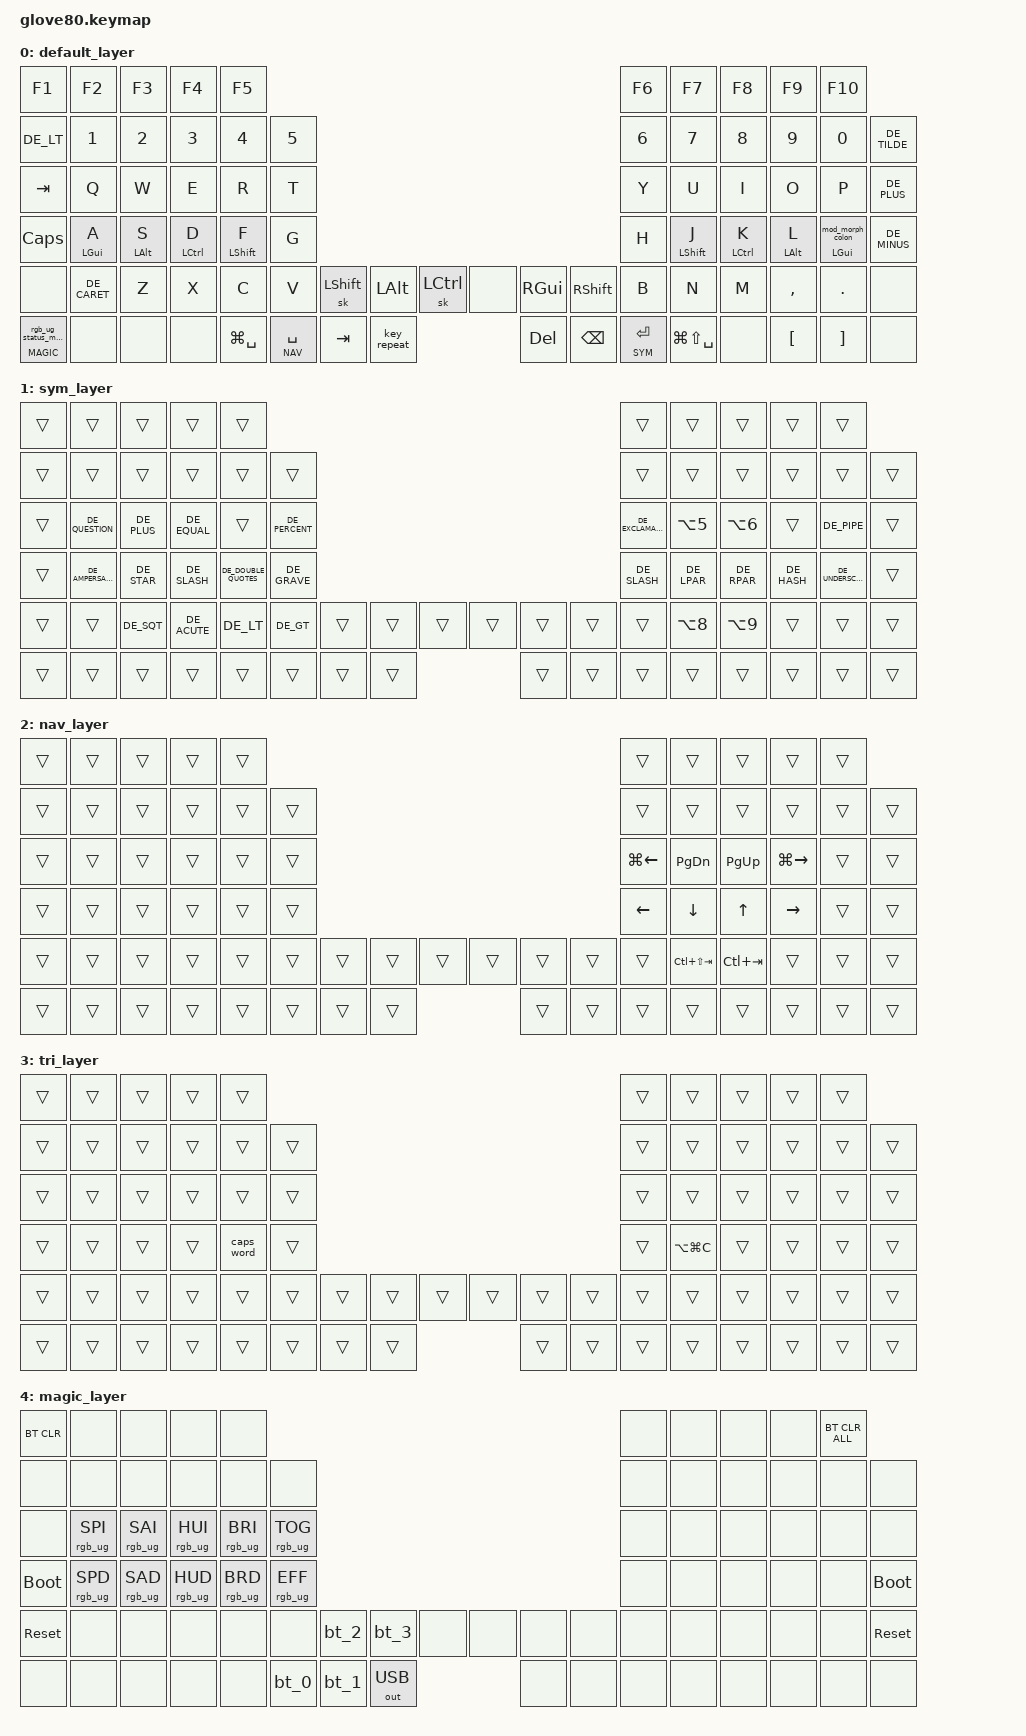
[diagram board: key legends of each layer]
/*
 * Copyright (c) 2020 The ZMK Contributors
 *
 * SPDX-License-Identifier: MIT
 */

#include <behaviors.dtsi>
#include <dt-bindings/zmk/keys.h>
#include "keys_de.h"
#include "helper.h"
#include "keypos_glv80.h"
#include <dt-bindings/zmk/bt.h>
#include <dt-bindings/zmk/ext_power.h>
#include <dt-bindings/zmk/outputs.h>
#include <dt-bindings/zmk/rgb.h>

// #define HYPER LC(LS(LG(LALT)))

// layers
#define DEFAULT 0
#define SYM 1
#define NAV 2
#define TRI 3
#define MAGIC 4

/*                               GLOVE80 KEY MATRIX / LAYOUT MAPPING
 ╭────────────────────╮       ╭────────────────────╮ ╭────────────────────╮       ╭────────────────────╮
 │  0   1   2   3   4 ╰───┬───╯  5   6   7   8   9 │ │ LC5 LC4 LC3 LC2 LC1╰───┬───╯ RC1 RC2 RC3 RC4 RC5│
 │ 10  11  12  13  14  15 │ 16  17  18  19  20  21 │ │ LN5 LN4 LN3 LN2 LN1 LN0│ RN0 RN1 RN2 RN3 RN4 RN5│
 │ 22  23  24  25  26  27 │ 28  29  30  31  32  33 │ │ LT5 LT4 LT3 LT2 LT1 LT0│ RT0 RT1 RT2 RT3 RT4 RT5│
 │ 34  35  36  37  38  39 │ 40  41  42  43  44  45 │ │ LM5 LM4 LM3 LM2 LM1 LM0│ RM0 RM1 RM2 RM3 RM4 RM5│
 │ 46  47  48  49  50  51 │ 58  59  60  61  62  63 │ │ LB5 LB4 LB3 LB2 LB1 LB0│ RB0 RB1 RB2 RB3 RB4 RB5│
 │ 64  65  66  67  68 ╭───┴───╮ 75  76  77  78  79 │ │ LF5 LF4 LF3 LF2 LF1╭───┴───╮ RF1 RF2 RF3 RF4 RF5│
 ╰───────────┬────────┴───┬───┴────────┬───────────╯ ╰───────────┬────────┴───┬───┴────────┬───────────╯
             │ 52  53  54 │ 55  56  57 │                         │ LH5 LH4 LH3│ RH3 RH4 RH5│
             │ 69  70  71 │ 72  73  74 │                         │ LH2 LH1 LH0│ RH0 RH1 RH2│
             ╰────────────┴────────────╯                         ╰────────────┴────────────╯
 */

&caps_word {
    continue-list = <UNDERSCORE MINUS>;
};

/ {
    behaviors {
        magic: magic_hold_tap {
            compatible = "zmk,behavior-hold-tap";
            label = "MAGIC_HOLD_TAP";
            #binding-cells = <2>;
            flavor = "tap-preferred";
            tapping-term-ms = <200>;
            bindings = <&mo>, <&rgb_ug_status_macro>;
        };
        // you have to hit the other key within 100ms to get a tap
        // if holding its key2 spam, if tapping fast its key2, if tap combining its key1
        pht: positional_hold_tap {
            compatible = "zmk,behavior-hold-tap";
            #binding-cells = <2>;
            flavor = "tap-unless-interrupted";
            tapping-term-ms = <100>; // <---[[produces tap if held longer than tapping-term-ms]]
            quick-tap-ms = <200>;
            bindings = <&kp>, <&kp>;
            // hold-trigger-key-positions = <5 6 7 8 9 10>;    // <---[[right-hand keys]]
        };
        // if holding its key1, if tapping its key2
        hrm: home_row_mods {
            compatible = "zmk,behavior-hold-tap";
            #binding-cells = <2>;
            flavor = "balanced";
            tapping-term-ms = <200>;
            quick-tap-ms = <280>;
            require-prior-idle-ms = <150>;
            bindings = <&kp>, <&kp>;
        };
        comsemi: comma_semi {
            compatible = "zmk,behavior-mod-morph";
            #binding-cells = <0>;
            bindings = <&kp DE_COLON>, <&kp SEMI>;
            mods = <(MOD_LGUI|MOD_LSFT|MOD_RGUI|MOD_RSFT)>;
        };

        mod_morph_colon: mod_morph_colon {
            compatible = "zmk,behavior-mod-morph";
            #binding-cells = <0>;
            bindings = <&kp DE_COLON>, <&kp DE_SEMICOLON>;
            mods = <(MOD_LSFT|MOD_RSFT)>;
        };

        hm_colon_morph: hm_colon_morph {
            compatible = "zmk,behavior-hold-tap";
            #binding-cells = <2>;
            tapping-term-ms = <200>;
            quick-tap-ms = <0>;
            flavor = "balanced";
            bindings = <&kp>, <&mod_morph_colon>;
        };
    };

    conditional_layers {
        compatible = "zmk,conditional-layers";
        tri_layer {
            if-layers = <1 2>;
            then-layer = <3>;
        };
    };

    macros {
        rgb_ug_status_macro: rgb_ug_status_macro_0 {
            label = "RGB_UG_STATUS";
            compatible = "zmk,behavior-macro";
            #binding-cells = <0>;
            bindings
                = <&rgb_ug RGB_STATUS>;
        };

        bt_0: bt_profile_macro_0 {
            label = "BT_0";
            compatible = "zmk,behavior-macro";
            #binding-cells = <0>;
            bindings
                = <&out OUT_BLE>,
                  <&bt BT_SEL 0>;
        };

        bt_1: bt_profile_macro_1 {
            label = "BT_1";
            compatible = "zmk,behavior-macro";
            #binding-cells = <0>;
            bindings
                = <&out OUT_BLE>,
                  <&bt BT_SEL 1>;
        };

        bt_2: bt_profile_macro_2 {
            label = "BT_2";
            compatible = "zmk,behavior-macro";
            #binding-cells = <0>;
            bindings
                = <&out OUT_BLE>,
                  <&bt BT_SEL 2>;
        };

        bt_3: bt_profile_macro_3 {
            label = "BT_3";
            compatible = "zmk,behavior-macro";
            #binding-cells = <0>;
            bindings
                = <&out OUT_BLE>,
                  <&bt BT_SEL 3>;
        };
    };

    combos {
        compatible = "zmk,combos";
        combo_oe {
            timeout-ms = <50>;
            key-positions = <25 31>;
            bindings = <&kp DE_O_UMLAUT>;
            layers = <0>;
        };
        combo_ue {
            timeout-ms = <50>;
            key-positions = <25 29>;
            bindings = <&kp DE_U_UMLAUT>;
            layers = <0>;
        };
        combo_ae {
            timeout-ms = <50>;
            key-positions = <25 35>;
            bindings = <&kp DE_A_UMLAUT>;
            layers = <0>;
        };
        combo_sz {
            timeout-ms = <50>;
            key-positions = <28 36>;
            bindings = <&kp DE_SZ>;
            layers = <0>;
        };
        combo_jk {
            timeout-ms = <50>;
            key-positions = <41 42>;
            bindings = <&kp ESC>;
            layers = <0>;
        };
        combo_sticky_rgui {
            timeout-ms = <50>;
            key-positions = <37 38>;
            bindings = <&sk RGUI>;
            layers = <0>;
        };
        // maybe after trying esc?
        // combo_sticky_rgui {
        //     timeout-ms = <50>;
        //     key-positions = <41 42>;
        //     bindings = <&sk LGUI>;
        //     layers = <0>;
        // };
    };

    keymap {
        compatible = "zmk,keymap";

        // These have to be in order of the layers defined at the top of the file
        default_layer {
            // ---------------------------------------------------------------------------------------------------------------------------------
            // |  F1   |  F2 |  F3 |  F4  |  F5  |                                                               |  F6   |  F7   |  F8  |   F9  |  F10 |
            // |  =    |  1  |  2  |  3   |  4   |  5   |                                                 |  6   |   7   |   8   |  9   |   0   |   -  |
            // |  TAB  |  Q  |  W  |  E   |  R   |  T   |                                                 |  Z   |   U   |   I   |  O   |   P   |   \  |
            // |  CAPS |  A  |  S  |  D   |  F   |  G   |                                                 |  H   |   J   |   K   |  L   |   ;   |   '  |
            // |   `   |  <  |  Y  |  X   |  C   |  V   | LSHFT | LCTRL | LOWER | | RCMD  | RCTRL | RSHFT |  B   |   N   |   M   |  ,   |   .   | PGUP |
            // | MAGIC | HOME| END | LEFT | RIGHT|      | SPACE | DEL   | LCMD  | | RALT  | BSPC  | RET   |      |  UP   | DOWN  |  [   |   ]   | PGDN |

            bindings = <
                    &kp F1            &kp F2            &kp F3           &kp F4           &kp F5                                                                                                              &kp F6          &kp F7             &kp F8               &kp F9        &kp F10
                    &kp DE_LT         &kp N1            &kp N2           &kp N3           &kp N4           &kp N5                                                                                             &kp N6          &kp N7             &kp N8               &kp N9        &kp N0               &kp DE_TILDE
                    &kp TAB           &kp Q             &kp W            &kp E            &kp R            &kp T                                                                                              &kp Y           &kp U              &kp I                &kp O         &kp P                &kp DE_PLUS
                    &kp CAPSLOCK      &hrm LGUI A       &hrm LALT S      &hrm LCTRL D     &hrm LSHFT F     &kp G                                                                                              &kp H           &hrm LSHFT J       &hrm LCTRL K         &hrm LALT L   &hm_colon_morph LGUI 0     &kp DE_MINUS
                    &none             &kp DE_CARET      &kp Z            &kp X            &kp C            &kp V          &sk LSHFT        &kp LALT      &sk LCTRL    &none       &kp RGUI    &kp RSHFT       &kp B           &kp N              &kp M                &kp COMMA     &kp DOT              &none
                    &magic MAGIC 0    &none             &none            &none            &kp LG(SPACE)                   &lt NAV SPACE    &kp TAB       &key_repeat  &kp DEL     &kp BSPC    &lt SYM RET                     &kp LG(LS(SPACE))  &none   &kp LBKT      &kp RBKT             &none
            >;
        };

        sym_layer {
            // ---------------------------------------------------------------------------------------------------------------------------------
            // |   ▽   |  ▽  |  ▽  |  ▽   |  ▽   |                                                               |   ▽   |   ▽   |  ▽   |   ▽   |  ▽   |
            // |   ▽   |  ▽  |  ▽  |  ▽   |  ▽   |  ▽   |                                                 |  ▽   |   ▽   |   ▽   |  ▽   |   ▽   |  ▽   |
            // |   ▽   |  ?  |  +  |  =   |  ▽   |  %   |                                                 |  !   |  [5]  |  [6]  |  ▽   |   |   |  ▽   |
            // |   ▽   |  &  |  *  |  /   |  "   |  `   |                                                 |  /   |   (   |   )   |  #   |   _   |  ▽   |
            // |   ▽   |  ▽  |  '  |  ´   |  <   |  >   |   ▽   |   ▽   |   ▽   | |   ▽   |   ▽   |   ▽   |  ▽   |  [8]  |  [9]  |  ▽   |   ▽   |  ▽   |
            // |   ▽   |  ▽  |  ▽  |  ▽   |  ▽   |      |   ▽   |   ▽   |   ▽   | |   ▽   |   ▽   |   ▽   |      |   ▽   |   ▽   |  ▽   |   ▽   |  ▽   |

            bindings = <
                    &trans            &trans              &trans          &trans          &trans                                                                                                                            &trans               &trans               &trans        &trans              &trans
                    &trans            &trans              &trans          &trans          &trans               &trans                                                                                  &trans               &trans               &trans               &trans        &trans              &trans
                    &trans            &kp DE_QUESTION     &kp DE_PLUS     &kp DE_EQUAL    &trans               &kp DE_PERCENT                                                                          &kp DE_EXCLAMATION   &kp LA(N5)           &kp LA(N6)           &trans        &kp DE_PIPE         &trans
                    &trans            &kp DE_AMPERSAND    &kp DE_STAR     &kp DE_SLASH    &kp DE_DOUBLE_QUOTES &kp DE_GRAVE                                                                            &kp DE_SLASH         &kp DE_LPAR          &kp DE_RPAR          &kp DE_HASH   &kp DE_UNDERSCORE   &trans
                    &trans            &trans              &kp DE_SQT      &kp DE_ACUTE    &kp DE_LT            &kp DE_GT       &trans      &trans      &trans      &trans      &trans      &trans      &trans               &kp LA(N8)           &kp LA(N9)           &trans        &trans              &trans
                    &trans            &trans              &trans          &trans          &trans                               &trans      &trans      &trans      &trans      &trans      &trans                           &trans               &trans               &trans        &trans              &trans
            >;
        };

        nav_layer {
            // ---------------------------------------------------------------------------------------------------------------------------------
            // |   ▽   |  ▽  |  ▽  |  ▽   |  ▽   |                                                               |   ▽   |   ▽   |  ▽   |   ▽   |  ▽   |
            // |   ▽   |  ▽  |  ▽  |  ▽   |  ▽   |  ▽   |                                                 |  ▽   |   ▽   |   ▽   |  ▽   |   ▽   |  ▽   |
            // |   ▽   |  ▽  |  ▽  |  ▽   |  ▽   |  ▽   |                                                 | ⌘←   |  PGDN |  PGUP |  ⌘→  |   ▽   |  ▽   |
            // |   ▽   |  ▽  |  ▽  |  ▽   |  ▽   |  ▽   |                                                 | LEFT |  DOWN |  UP   | RIGHT|   ▽   |  ▽   |
            // |   ▽   |  ▽  |  ▽  |  ▽   |  ▽   |  ▽   |   ▽   |   ▽   |   ▽   | |   ▽   |   ▽   |   ▽   |  ▽   |^⇧TAB  | ^TAB  |  ▽   |   ▽   |  ▽   |
            // |   ▽   |  ▽  |  ▽  |  ▽   |  ▽   |      |   ▽   |   ▽   |   ▽   | |   ▽   |   ▽   |   ▽   |      |   ▽   |   ▽   |  ▽   |   ▽   |  ▽   |

            bindings = <
                    &trans            &trans              &trans          &trans              &trans                                                                                                                    &trans           &trans        &trans          &trans   &trans
                    &trans            &trans              &trans          &trans              &trans               &trans                                                                                  &trans       &trans           &trans        &trans          &trans   &trans
                    &trans            &trans              &trans          &trans              &trans               &trans                                                                                  &kp LG(LEFT) &kp PG_DN        &kp PG_UP     &kp LG(RIGHT)   &trans   &trans
                    &trans            &trans              &trans          &trans              &trans               &trans                                                                                  &kp LEFT     &kp DOWN         &kp UP        &kp RIGHT       &trans   &trans
                    &trans            &trans              &trans          &trans              &trans               &trans          &trans      &trans      &trans      &trans      &trans      &trans      &trans       &kp LC(LS(TAB))  &kp LC(TAB)   &trans          &trans   &trans
                    &trans            &trans              &trans          &trans              &trans                               &trans      &trans      &trans      &trans      &trans      &trans                   &trans           &trans        &trans          &trans   &trans
            >;
        };

        tri_layer {
            // ---------------------------------------------------------------------------------------------------------------------------------
            // |   ▽   |  ▽  |  ▽  |  ▽   |  ▽   |                                                               |   ▽   |   ▽   |  ▽   |   ▽   |  ▽   |
            // |   ▽   |  ▽  |  ▽  |  ▽   |  ▽   |  ▽   |                                                 |  ▽   |   ▽   |   ▽   |  ▽   |   ▽   |  ▽   |
            // |   ▽   |  ▽  |  ▽  |  ▽   |  ▽   |  ▽   |                                                 |  ▽   |   ▽   |   ▽   |  ▽   |   ▽   |  ▽   |
            // |   ▽   |  ▽  |  ▽  |  ▽   | CAPSW|  ▽   |                                                 |  ▽   | ⌥⌘C   |   ▽   |  ▽   |   ▽   |  ▽   |
            // |   ▽   |  ▽  |  ▽  |  ▽   |  ▽   |  ▽   |   ▽   |   ▽   |   ▽   | |   ▽   |   ▽   |   ▽   |  ▽   |   ▽   |   ▽   |  ▽   |   ▽   |  ▽   |
            // |   ▽   |  ▽  |  ▽  |  ▽   |  ▽   |      |   ▽   |   ▽   |   ▽   | |   ▽   |   ▽   |   ▽   |      |   ▽   |   ▽   |  ▽   |   ▽   |  ▽   |

            bindings = <
                    &trans            &trans              &trans          &trans          &trans                                                                                                               &trans         &trans    &trans     &trans   &trans
                    &trans            &trans              &trans          &trans          &trans          &trans                                                                                  &trans       &trans         &trans    &trans     &trans   &trans
                    &trans            &trans              &trans          &trans          &trans          &trans                                                                                  &trans       &trans         &trans    &trans     &trans   &trans
                    &trans            &trans              &trans          &trans          &caps_word      &trans                                                                                  &trans       &kp LA(LG(C))  &trans    &trans     &trans   &trans
                    &trans            &trans              &trans          &trans          &trans          &trans          &trans      &trans      &trans      &trans      &trans      &trans      &trans       &trans         &trans    &trans     &trans   &trans
                    &trans            &trans              &trans          &trans          &trans                          &trans      &trans      &trans      &trans      &trans      &trans                   &trans         &trans    &trans     &trans   &trans
            >;
        };

        magic_layer {
            // ---------------------------------------------------------------------------------------------------------------------------------
            // | BTCLR |  ▽  |  ▽  |  ▽   |  ▽   |                                                               |   ▽   |   ▽   |  ▽   |   ▽   |BTCLRA|
            // |   ▽   |  ▽  |  ▽  |  ▽   |  ▽   |  ▽   |                                                 |  ▽   |   ▽   |   ▽   |  ▽   |   ▽   |  ▽   |
            // |   ▽   | SPI | SAI | HUI  | BRI  | TOG  |                                                 |  ▽   |   ▽   |   ▽   |  ▽   |   ▽   |  ▽   |
            // | BOOT  | SPD | SAD | HUD  | BRD  | EFF  |                                                 |  ▽   |   ▽   |   ▽   |  ▽   |   ▽   | BOOT |
            // | RESET |  ▽  |  ▽  |  ▽   |  ▽   |  ▽   | BT2   | BT3   |   ▽   | |   ▽   |   ▽   |   ▽   |  ▽   |   ▽   |   ▽   |  ▽   |   ▽   | RESET|
            // |   ▽   |  ▽  |  ▽  |  ▽   |  ▽   |      | BT0   | BT1   |  USB  | |   ▽   |   ▽   |   ▽   |      |   ▽   |   ▽   |  ▽   |   ▽   |  ▽   |

            bindings = <
            &bt BT_CLR        &none               &none           &none           &none                                                                                                           &none      &none      &none      &none      &bt BT_CLR_ALL
            &none             &none               &none           &none           &none           &none                                                                                &none      &none      &none      &none      &none      &none
            &none             &rgb_ug RGB_SPI     &rgb_ug RGB_SAI &rgb_ug RGB_HUI &rgb_ug RGB_BRI &rgb_ug RGB_TOG                                                                      &none      &none      &none      &none      &none      &none
            &bootloader       &rgb_ug RGB_SPD     &rgb_ug RGB_SAD &rgb_ug RGB_HUD &rgb_ug RGB_BRD &rgb_ug RGB_EFF                                                                      &none      &none      &none      &none      &none      &bootloader
            &sys_reset        &none               &none           &none           &none           &none           &bt_2     &bt_3     &none            &none     &none     &none       &none      &none      &none      &none      &none      &sys_reset
            &none             &none               &none           &none           &none                           &bt_0     &bt_1     &out OUT_USB     &none     &none     &none                  &none      &none      &none      &none      &none
            >;
        };
    };
};


// clean_trans_layer {
//     bindings = <
//         &trans            &trans              &trans          &trans          &trans                                                                                                               &trans    &trans    &trans     &trans   &trans
//         &trans            &trans              &trans          &trans          &trans          &trans                                                                                  &trans       &trans    &trans    &trans     &trans   &trans
//         &trans            &trans              &trans          &trans          &trans          &trans                                                                                  &trans       &trans    &trans    &trans     &trans   &trans
//         &trans            &trans              &trans          &trans          &trans          &trans                                                                                  &trans       &trans    &trans    &trans     &trans   &trans
//         &trans            &trans              &trans          &trans          &trans          &trans          &trans      &trans      &trans      &trans      &trans      &trans      &trans       &trans    &trans    &trans     &trans   &trans
//         &trans            &trans              &trans          &trans          &trans                          &trans      &trans      &trans      &trans      &trans      &trans                   &trans    &trans    &trans     &trans   &trans
//     >;
// };
